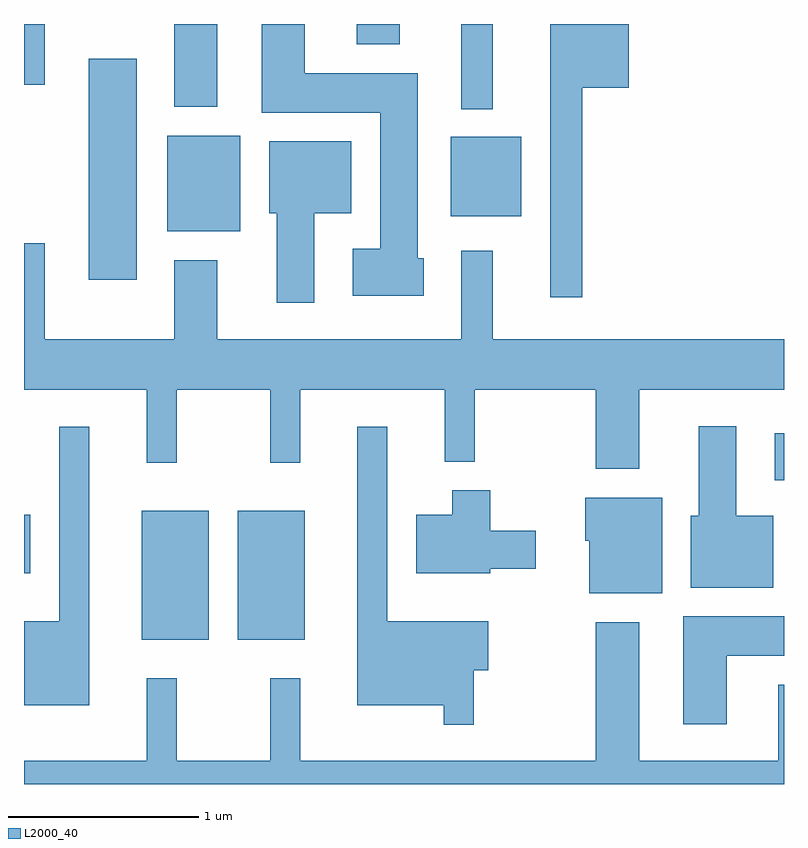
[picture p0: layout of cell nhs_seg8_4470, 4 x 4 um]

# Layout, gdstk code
import gdstk
lib = gdstk.Library(unit=1e-6, precision=1e-09)
def R(c, l, rs):  # rectangles x0, y0, x1, y1
    for r in rs: c.add(gdstk.rectangle(r[:2], r[2:], *l))
def P(c, l, *ps):  # polygons
    for p in ps: c.add(gdstk.Polygon(p, *l))
L2000_40 = (2000, 40)

nhs_seg8_4470 = lib.new_cell('nhs_seg8_4470')
R(nhs_seg8_4470, L2000_40, [(320.231,1835.101,320.584,1835.779), (320.736,1835.101,321.089,1835.779), (319.611,1835.451,319.644,1835.759), (323.561,1835.941,323.611,1836.189), (319.951,1836.996,320.204,1838.159), (320.366,1837.251,320.749,1837.754), (321.856,1837.331,322.229,1837.749), (321.911,1837.893,322.079,1838.342), (320.401,1837.906,320.629,1838.342), (319.611,1838.021,319.719,1838.342), (321.361,1838.236,321.589,1838.342)])
P(nhs_seg8_4470, L2000_40, [(321.714,1837.109),(321.684,1837.109),(321.684,1838.084),(321.089,1838.084),(321.089,1838.342),(320.861,1838.342),(320.861,1837.876),(321.486,1837.876),(321.486,1837.159),(321.341,1837.159),(321.341,1836.911),(321.714,1836.911)],
  [(322.549,1838.006),(322.794,1838.006),(322.794,1838.342),(322.381,1838.342),(322.381,1836.903),(322.549,1836.903)],
  [(321.139,1837.346),(321.334,1837.346),(321.334,1837.724),(320.901,1837.724),(320.901,1837.346),(320.941,1837.346),(320.941,1836.876),(321.139,1836.876)],
  [(322.849,1836.416),(323.611,1836.416),(323.611,1836.684),(322.079,1836.684),(322.079,1837.148),(321.911,1837.148),(321.911,1836.684),(320.629,1836.684),(320.629,1837.099),(320.401,1837.099),(320.401,1836.684),(319.719,1836.684),(319.719,1837.189),(319.611,1837.189),(319.611,1836.416),(320.256,1836.416),(320.256,1836.033),(320.414,1836.033),(320.414,1836.416),(320.906,1836.416),(320.906,1836.033),(321.064,1836.033),(321.064,1836.416),(321.826,1836.416),(321.826,1836.038),(321.984,1836.038),(321.984,1836.416),(322.621,1836.416),(322.621,1836.001),(322.849,1836.001)],
  [(323.554,1835.754),(323.359,1835.754),(323.359,1836.224),(323.161,1836.224),(323.161,1835.754),(323.121,1835.754),(323.121,1835.376),(323.554,1835.376)],
  [(319.954,1836.223),(319.796,1836.223),(319.796,1835.199),(319.611,1835.199),(319.611,1834.756),(319.954,1834.756)],
  [(321.979,1834.941),(322.054,1834.941),(322.054,1835.199),(321.524,1835.199),(321.524,1836.223),(321.366,1836.223),(321.366,1834.756),(321.821,1834.756),(321.821,1834.653),(321.979,1834.653)],
  [(322.064,1835.476),(322.304,1835.476),(322.304,1835.674),(322.064,1835.674),(322.064,1835.889),(321.866,1835.889),(321.866,1835.759),(321.676,1835.759),(321.676,1835.451),(322.064,1835.451)],
  [(322.969,1835.849),(322.566,1835.849),(322.566,1835.621),(322.586,1835.621),(322.586,1835.346),(322.969,1835.346)],
  [(323.309,1835.016),(323.611,1835.016),(323.611,1835.224),(323.081,1835.224),(323.081,1834.656),(323.309,1834.656)],
  [(323.611,1834.864),(323.581,1834.864),(323.581,1834.464),(322.849,1834.464),(322.849,1835.194),(322.621,1835.194),(322.621,1834.464),(321.064,1834.464),(321.064,1834.898),(320.906,1834.898),(320.906,1834.464),(320.414,1834.464),(320.414,1834.898),(320.256,1834.898),(320.256,1834.464),(319.611,1834.464),(319.611,1834.342),(323.611,1834.342)])

lib.write_gds('nhs_seg8_4470.gds')
